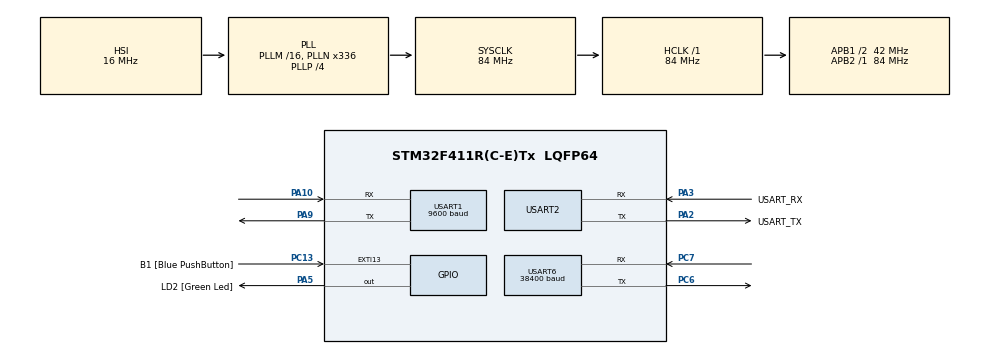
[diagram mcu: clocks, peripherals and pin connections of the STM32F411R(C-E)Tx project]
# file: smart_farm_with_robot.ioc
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Mcu.Family=STM32F4
Mcu.Name=STM32F411R(C-E)Tx
Mcu.Package=LQFP64
NVIC.PriorityGroup=NVIC_PRIORITYGROUP_0
NVIC.TIM3_IRQn=true\:0\:0\:false\:false\:true\:true\:true\:true
NVIC.USART1_IRQn=true\:0\:0\:false\:false\:true\:true\:true\:true
NVIC.USART2_IRQn=true\:0\:0\:false\:false\:true\:true\:true\:true
NVIC.USART6_IRQn=true\:0\:0\:false\:false\:true\:true\:true\:true
PA10.Mode=Asynchronous
PA10.Signal=USART1_RX
PA13.GPIO_Label=TMS
PA13.Mode=Serial_Wire
PA13.Signal=SYS_JTMS-SWDIO
PA14.GPIO_Label=TCK
PA14.Mode=Serial_Wire
PA14.Signal=SYS_JTCK-SWCLK
PA2.GPIO_Label=USART_TX
PA2.Mode=Asynchronous
PA2.Signal=USART2_TX
PA3.GPIO_Label=USART_RX
PA3.Mode=Asynchronous
PA3.Signal=USART2_RX
PA5.GPIO_Label=LD2 [Green Led]
PA5.Signal=GPIO_Output
PA9.Mode=Asynchronous
PA9.Signal=USART1_TX
PB3.GPIO_Label=SWO
PB3.Signal=SYS_JTDO-SWO
PC13-ANTI_TAMP.GPIO_Label=B1 [Blue PushButton]
PC13-ANTI_TAMP.GPIO_ModeDefaultEXTI=GPIO_MODE_IT_FALLING
PC13-ANTI_TAMP.Signal=GPXTI13
PC14-OSC32_IN.Mode=LSE-External-Oscillator
PC14-OSC32_IN.Signal=RCC_OSC32_IN
PC15-OSC32_OUT.Mode=LSE-External-Oscillator
PC15-OSC32_OUT.Signal=RCC_OSC32_OUT
PC6.Mode=Asynchronous
PC6.Signal=USART6_TX
PC7.Mode=Asynchronous
PC7.Signal=USART6_RX
PH0\ -\ OSC_IN.Mode=HSE-External-Clock-Source
PH0\ -\ OSC_IN.Signal=RCC_OSC_IN
PH1\ -\ OSC_OUT.Mode=HSE-External-Clock-Source
PH1\ -\ OSC_OUT.Signal=RCC_OSC_OUT
ProjectManager.HeapSize=0x200
ProjectManager.StackSize=0x400
ProjectManager.TargetToolchain=STM32CubeIDE
RCC.48MHZClocksFreq_Value=84000000
RCC.AHBFreq_Value=84000000
RCC.APB1CLKDivider=RCC_HCLK_DIV2
RCC.APB1Freq_Value=42000000
RCC.APB1TimFreq_Value=84000000
RCC.APB2Freq_Value=84000000
RCC.APB2TimFreq_Value=84000000
RCC.CortexFreq_Value=84000000
RCC.FLatency-AdvancedSettings=FLASH_LATENCY_2
RCC.HCLKFreq_Value=84000000
RCC.HSE_VALUE=8000000
RCC.HSI_VALUE=16000000
RCC.PLLN=336
RCC.PLLP=RCC_PLLP_DIV4
RCC.SYSCLKFreq_VALUE=84000000
RCC.SYSCLKSource=RCC_SYSCLKSOURCE_PLLCLK
RCC.VCOOutputFreq_Value=336000000
TIM3.AutoReloadPreload=TIM_AUTORELOAD_PRELOAD_ENABLE
TIM3.Period=1000-1
TIM3.Prescaler=84-1
USART1.BaudRate=9600
USART1.VirtualMode=VM_ASYNC
USART2.VirtualMode=VM_ASYNC
USART6.BaudRate=38400
USART6.VirtualMode=VM_ASYNC
VP_TIM3_VS_ClockSourceINT.Mode=Internal
board=NUCLEO-F411RE

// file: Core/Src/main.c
/* USER CODE BEGIN Header */
/**
  ******************************************************************************
  * @file           : main.c
  * @brief          : Main program body
  ******************************************************************************
  * @attention
  *
  * Copyright (c) 2025 STMicroelectronics.
  * All rights reserved.
  *
  * This software is licensed under terms that can be found in the LICENSE file
  * in the root directory of this software component.
  * If no LICENSE file comes with this software, it is provided AS-IS.
  *
  ******************************************************************************
  */
/* USER CODE END Header */
#include "main.h"

/* USER CODE BEGIN Includes */
#include <string.h>
#include <stdio.h>
#include "esp.h"
/* USER CODE END Includes */

/* USER CODE BEGIN PD */
#define ARR_CNT 5
#define CMD_SIZE 50
/* USER CODE END PD */

TIM_HandleTypeDef htim3;

UART_HandleTypeDef huart1;
UART_HandleTypeDef huart2;
UART_HandleTypeDef huart6;

/* USER CODE BEGIN PV */
float temp, humi, ph; // 온도, 습도, PH
int ec; // EC
uint8_t rx2char;
extern cb_data_t cb_data;
extern volatile unsigned char rx2Flag;
extern volatile char rx2Data[50];
volatile int tim3Flag1Sec=1;
volatile unsigned int tim3Sec;
/* USER CODE END PV */

void SystemClock_Config(void);
static void MX_GPIO_Init(void);
static void MX_USART2_UART_Init(void);
static void MX_USART1_UART_Init(void);
static void MX_USART6_UART_Init(void);
static void MX_TIM3_Init(void);
/* USER CODE BEGIN PFP */
char strBuff[MAX_ESP_COMMAND_LEN];
void MX_GPIO_LED_ON(int flag);
void MX_GPIO_LED_OFF(int flag);
void esp_event(char *);
/* USER CODE END PFP */

/* USER CODE BEGIN 0 */
/* ======================================= 디버깅용 print ===========================================*/
//int __io_putchar(int ch) {
//  uint8_t c = (uint8_t)ch;
//  HAL_UART_Transmit(&huart2, &c, 1, HAL_MAX_DELAY);
//  return ch;
//}

/* =======================================온도, 습도, EC, PH 값 읽어오기============================================== */
static void ReadTempHumECPH()
{
	uint8_t tx_data[8] = {0x01, 0x03, 0x00, 0x00, 0x00, 0x07, 0x04, 0x08};
	uint8_t rx_data[19] = {0,};

	HAL_UART_Transmit(&huart1, tx_data, 8, 100);
	HAL_UART_Receive(&huart1, rx_data, 19, 100);

	if(rx_data[0] == 1 && rx_data[1] == 3)
	{
	  humi = (float)((rx_data[3] << 8) | rx_data[4]) / 10.0;
	  temp = (float)((rx_data[5] << 8) | rx_data[6]) / 10.0;
	  ec = (int)((rx_data[7] << 8) | rx_data[8]);
	  ph = (float)((rx_data[9] << 8) | rx_data[10]) / 10.0;

//	  printf("TEM=%.1f C  HUM=%.1f %%RH  EC=%d us/cm  PH=%.1f\r\n",
//			  temp, humi, ec, ph);
	}
}
/* USER CODE END 0 */

int main(void)
{

  /* USER CODE BEGIN 1 */
	int ret = 0;
  /* USER CODE END 1 */

  /* MCU Configuration--------------------------------------------------------*/

  /* Reset of all peripherals, Initializes the Flash interface and the Systick. */
  HAL_Init();

  /* Configure the system clock */
  SystemClock_Config();

  /* Initialize all configured peripherals */
  MX_GPIO_Init();
  MX_USART2_UART_Init();
  MX_USART1_UART_Init();
  MX_USART6_UART_Init();
  MX_TIM3_Init();
  /* USER CODE BEGIN 2 */
  printf("\r\n[BOOT] Soil Sensor demo (USART1=Sensor, USART2=Debug)\r\n");
  printf("Start main() - wifi\r\n");
  ret |= drv_uart_init();
  ret |= drv_esp_init();
  if(ret != 0)
  {
	  printf("Esp response error\r\n");
	  Error_Handler();
  }

  AiotClient_Init();
  if(HAL_TIM_Base_Start_IT(&htim3) != HAL_OK)
  {
	  Error_Handler();
  }
  /* USER CODE END 2 */

  /* Infinite loop */
  /* USER CODE BEGIN WHILE */
  while (1)
  {
	  if(strstr((char *)cb_data.buf,"+IPD") && cb_data.buf[cb_data.length-1] == '\n')
	  {
		  //?��?��?���??  \r\n+IPD,15:[KSH_LIN]HELLO\n
		  strcpy(strBuff,strchr((char *)cb_data.buf,'['));
		  memset(cb_data.buf,0x0,sizeof(cb_data.buf));
		  cb_data.length = 0;
		  esp_event(strBuff);
	  }
	  if(rx2Flag)
	  {
			printf("recv2 : %s\r\n",rx2Data);
			rx2Flag =0;
	//	    HAL_UART_Transmit(&huart6, (uint8_t *)buf, strlen(buf), 0xFFFF);
	  }

	  if(tim3Flag1Sec)	//1초에 한번
	  {
		  tim3Flag1Sec = 0;

		  ReadTempHumECPH(); // 온도, 습도, EC, PH값 읽기

		  if(!(tim3Sec%10)) //10초에 한번
		  {
			  if(esp_get_status() != 0)
			  {
				  printf("server connecting ...\r\n");
				  esp_client_conn();
			  }
		  }
//			printf("tim3Sec : %d\r\n",tim3Sec);
	  }
    /* USER CODE END WHILE */

  }
}

void SystemClock_Config(void)
{
  RCC_OscInitTypeDef RCC_OscInitStruct = {0};
  RCC_ClkInitTypeDef RCC_ClkInitStruct = {0};

  /** Configure the main internal regulator output voltage
  */
  __HAL_RCC_PWR_CLK_ENABLE();
  __HAL_PWR_VOLTAGESCALING_CONFIG(PWR_REGULATOR_VOLTAGE_SCALE1);

  /** Initializes the RCC Oscillators according to the specified parameters
  * in the RCC_OscInitTypeDef structure.
  */
  RCC_OscInitStruct.OscillatorType = RCC_OSCILLATORTYPE_HSI;
  RCC_OscInitStruct.HSIState = RCC_HSI_ON;
  RCC_OscInitStruct.HSICalibrationValue = RCC_HSICALIBRATION_DEFAULT;
  RCC_OscInitStruct.PLL.PLLState = RCC_PLL_ON;
  RCC_OscInitStruct.PLL.PLLSource = RCC_PLLSOURCE_HSI;
  RCC_OscInitStruct.PLL.PLLM = 16;
  RCC_OscInitStruct.PLL.PLLN = 336;
  RCC_OscInitStruct.PLL.PLLP = RCC_PLLP_DIV4;
  RCC_OscInitStruct.PLL.PLLQ = 4;
  if (HAL_RCC_OscConfig(&RCC_OscInitStruct) != HAL_OK)
  {
    Error_Handler();
  }

  /** Initializes the CPU, AHB and APB buses clocks
  */
  RCC_ClkInitStruct.ClockType = RCC_CLOCKTYPE_HCLK|RCC_CLOCKTYPE_SYSCLK
                              |RCC_CLOCKTYPE_PCLK1|RCC_CLOCKTYPE_PCLK2;
  RCC_ClkInitStruct.SYSCLKSource = RCC_SYSCLKSOURCE_PLLCLK;
  RCC_ClkInitStruct.AHBCLKDivider = RCC_SYSCLK_DIV1;
  RCC_ClkInitStruct.APB1CLKDivider = RCC_HCLK_DIV2;
  RCC_ClkInitStruct.APB2CLKDivider = RCC_HCLK_DIV1;

  if (HAL_RCC_ClockConfig(&RCC_ClkInitStruct, FLASH_LATENCY_2) != HAL_OK)
  {
    Error_Handler();
  }
}

static void MX_TIM3_Init(void)
{

  TIM_ClockConfigTypeDef sClockSourceConfig = {0};
  TIM_MasterConfigTypeDef sMasterConfig = {0};

  htim3.Instance = TIM3;
  htim3.Init.Prescaler = 84-1;
  htim3.Init.CounterMode = TIM_COUNTERMODE_UP;
  htim3.Init.Period = 1000-1;
  htim3.Init.ClockDivision = TIM_CLOCKDIVISION_DIV1;
  htim3.Init.AutoReloadPreload = TIM_AUTORELOAD_PRELOAD_ENABLE;
  if (HAL_TIM_Base_Init(&htim3) != HAL_OK)
  {
    Error_Handler();
  }
  sClockSourceConfig.ClockSource = TIM_CLOCKSOURCE_INTERNAL;
  if (HAL_TIM_ConfigClockSource(&htim3, &sClockSourceConfig) != HAL_OK)
  {
    Error_Handler();
  }
  sMasterConfig.MasterOutputTrigger = TIM_TRGO_RESET;
  sMasterConfig.MasterSlaveMode = TIM_MASTERSLAVEMODE_DISABLE;
  if (HAL_TIMEx_MasterConfigSynchronization(&htim3, &sMasterConfig) != HAL_OK)
  {
    Error_Handler();
  }

}

static void MX_USART1_UART_Init(void)
{

  huart1.Instance = USART1;
  huart1.Init.BaudRate = 9600;
  huart1.Init.WordLength = UART_WORDLENGTH_8B;
  huart1.Init.StopBits = UART_STOPBITS_1;
  huart1.Init.Parity = UART_PARITY_NONE;
  huart1.Init.Mode = UART_MODE_TX_RX;
  huart1.Init.HwFlowCtl = UART_HWCONTROL_NONE;
  huart1.Init.OverSampling = UART_OVERSAMPLING_16;
  if (HAL_UART_Init(&huart1) != HAL_OK)
  {
    Error_Handler();
  }

}

static void MX_USART2_UART_Init(void)
{

  huart2.Instance = USART2;
  huart2.Init.BaudRate = 115200;
  huart2.Init.WordLength = UART_WORDLENGTH_8B;
  huart2.Init.StopBits = UART_STOPBITS_1;
  huart2.Init.Parity = UART_PARITY_NONE;
  huart2.Init.Mode = UART_MODE_TX_RX;
  huart2.Init.HwFlowCtl = UART_HWCONTROL_NONE;
  huart2.Init.OverSampling = UART_OVERSAMPLING_16;
  if (HAL_UART_Init(&huart2) != HAL_OK)
  {
    Error_Handler();
  }

}

static void MX_USART6_UART_Init(void)
{

  huart6.Instance = USART6;
  huart6.Init.BaudRate = 38400;
  huart6.Init.WordLength = UART_WORDLENGTH_8B;
  huart6.Init.StopBits = UART_STOPBITS_1;
  huart6.Init.Parity = UART_PARITY_NONE;
  huart6.Init.Mode = UART_MODE_TX_RX;
  huart6.Init.HwFlowCtl = UART_HWCONTROL_NONE;
  huart6.Init.OverSampling = UART_OVERSAMPLING_16;
  if (HAL_UART_Init(&huart6) != HAL_OK)
  {
    Error_Handler();
  }

}

static void MX_GPIO_Init(void)
{
  GPIO_InitTypeDef GPIO_InitStruct = {0};

  /* GPIO Ports Clock Enable */
  __HAL_RCC_GPIOC_CLK_ENABLE();
  __HAL_RCC_GPIOH_CLK_ENABLE();
  __HAL_RCC_GPIOA_CLK_ENABLE();
  __HAL_RCC_GPIOB_CLK_ENABLE();

  /*Configure GPIO pin Output Level */
  HAL_GPIO_WritePin(LD2_GPIO_Port, LD2_Pin, GPIO_PIN_RESET);

  /*Configure GPIO pin : B1_Pin */
  GPIO_InitStruct.Pin = B1_Pin;
  GPIO_InitStruct.Mode = GPIO_MODE_IT_FALLING;
  GPIO_InitStruct.Pull = GPIO_NOPULL;
  HAL_GPIO_Init(B1_GPIO_Port, &GPIO_InitStruct);

  /*Configure GPIO pin : LD2_Pin */
  GPIO_InitStruct.Pin = LD2_Pin;
  GPIO_InitStruct.Mode = GPIO_MODE_OUTPUT_PP;
  GPIO_InitStruct.Pull = GPIO_NOPULL;
  GPIO_InitStruct.Speed = GPIO_SPEED_FREQ_LOW;
  HAL_GPIO_Init(LD2_GPIO_Port, &GPIO_InitStruct);

}

/* USER CODE BEGIN 4 */
void MX_GPIO_LED_ON(int pin)
{
	HAL_GPIO_WritePin(LD2_GPIO_Port, pin, GPIO_PIN_SET);
}
void MX_GPIO_LED_OFF(int pin)
{
	HAL_GPIO_WritePin(LD2_GPIO_Port, pin, GPIO_PIN_RESET);
}
void esp_event(char * recvBuf)
{
  int i=0;
  char * pToken;
  char * pArray[ARR_CNT]={0};
  char sendBuf[MAX_UART_COMMAND_LEN]={0};

  strBuff[strlen(recvBuf)-1] = '\0';	//'\n' cut
  printf("\r\nDebug recv : %s\r\n",recvBuf);

  pToken = strtok(recvBuf,"[@]");
  while(pToken != NULL)
  {
    pArray[i] = pToken;
    if(++i >= ARR_CNT)
      break;
    pToken = strtok(NULL,"[@]");
  }

  if(!strcmp(pArray[1],"LED"))
  {
  	if(!strcmp(pArray[2],"ON"))
  	{
  		MX_GPIO_LED_ON(LD2_Pin);
  	}
	else if(!strcmp(pArray[2],"OFF"))
	{
		MX_GPIO_LED_OFF(LD2_Pin);
	}
	sprintf(sendBuf,"[%s]%s@%s\n",pArray[0],pArray[1],pArray[2]);
  }
  else if(!strncmp(pArray[1]," New conn",8))
  {
//	   printf("Debug : %s, %s\r\n",pArray[0],pArray[1]);
     return;
  }
  else if(!strncmp(pArray[1]," Already log",8))
  {
// 	    printf("Debug : %s, %s\r\n",pArray[0],pArray[1]);
	  esp_client_conn();
      return;
  }
  else
      return;

  esp_send_data(sendBuf);
  printf("Debug send : %s\r\n",sendBuf);
}
void HAL_TIM_PeriodElapsedCallback(TIM_HandleTypeDef *htim)		//1ms 마다 호출
{
	static int tim3Cnt = 0;
	tim3Cnt++;
	if(tim3Cnt >= 1000) //1ms * 1000 = 1Sec
	{
		tim3Flag1Sec = 1;
		tim3Sec++;
		tim3Cnt = 0;
	}
}
/* USER CODE END 4 */

void Error_Handler(void)
{
  __disable_irq();
  while (1)
  {
  }
}
